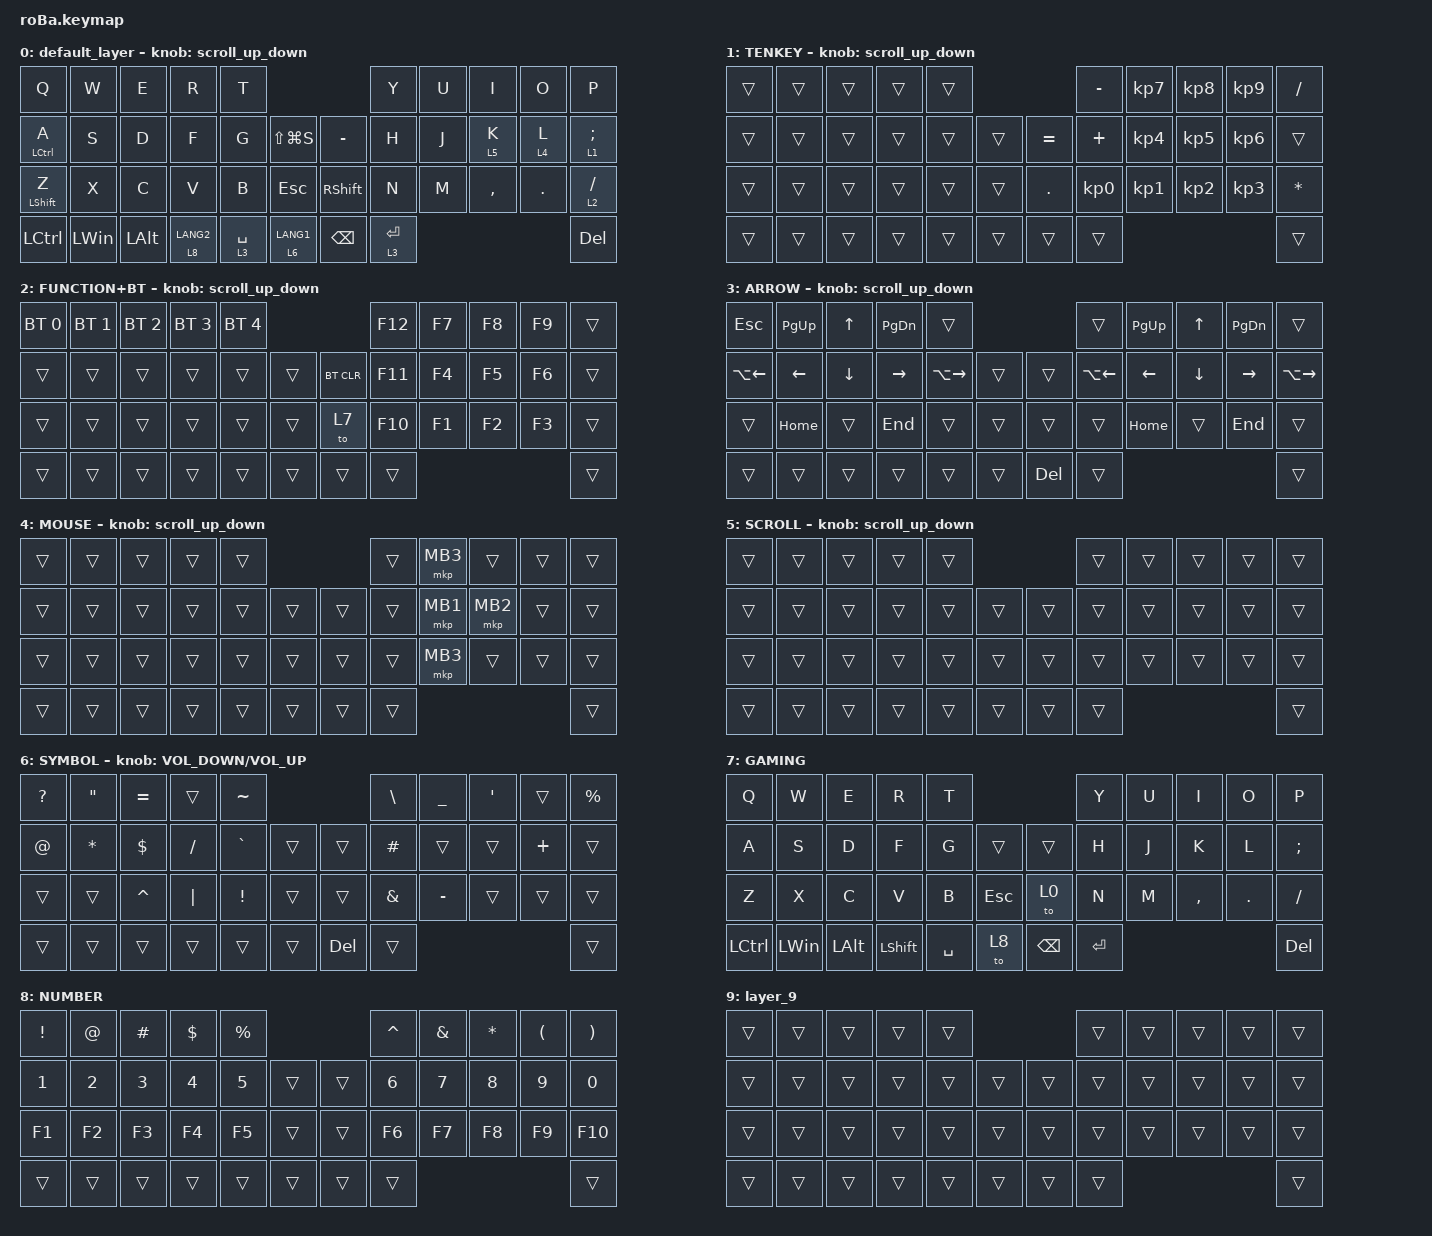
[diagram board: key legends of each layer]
#include <behaviors.dtsi>
#include <dt-bindings/zmk/bt.h>
#include <dt-bindings/zmk/keys.h>
#include <dt-bindings/zmk/pointing.h>

#define MOUSE 4
#define SCROLL 5
#define NUM 6
#define ZMK_POINTING_DEFAULT_SCRL_VAL 100

&mt {
    flavor = "balanced";
    quick-tap-ms = <0>;
};

/ {
    combos {
        compatible = "zmk,combos";

        tab {
            bindings = <&kp TAB>;
            key-positions = <0 1>;
        };

        shift_tab {
            bindings = <&kp LS(TAB)>;
            key-positions = <2 1>;
        };

        muhennkann {
            bindings = <&to_layer_0 INT_MUHENKAN>;
            key-positions = <>;
        };

        henkan {
            bindings = <&to_layer_0 INTERNATIONAL_4>;
            key-positions = <>;
        };

        left-parenthesis {
            bindings = <&kp LEFT_PARENTHESIS>;
            key-positions = <3 2>;
        };

        right-parenthesis {
            bindings = <&kp RIGHT_PARENTHESIS>;
            key-positions = <4 3>;
        };

        left-bracket {
            bindings = <&kp LEFT_BRACKET>;
            key-positions = <12 13>;
        };

        right-bracket {
            bindings = <&kp RIGHT_BRACKET>;
            key-positions = <14 13>;
        };

        left-brace {
            bindings = <&kp LEFT_BRACE>;
            key-positions = <24 25>;
        };

        right-brace {
            bindings = <&kp RIGHT_BRACE>;
            key-positions = <25 26>;
        };

        quotation {
            bindings = <&kp SQT>;
            key-positions = <>;
        };

        double-quotation {
            bindings = <&kp DOUBLE_QUOTES>;
            key-positions = <>;
        };

        semicolon {
            bindings = <&kp SEMICOLON>;
            key-positions = <>;
        };

        colon {
            bindings = <&kp COLON>;
            key-positions = <>;
        };

        mb1 {
            bindings = <&mkp MB1>;
            key-positions = <18 19>;
        };

        mb2 {
            bindings = <&mkp MB2>;
            key-positions = <20 21>;
        };

        mb3 {
            bindings = <&mkp MB3>;
            key-positions = <19 20>;
        };
    };

    macros {
        to_layer_0: to_layer_0 {
            compatible = "zmk,behavior-macro-one-param";
            #binding-cells = <1>;
            bindings = <&to 0 &macro_param_1to1 &kp MACRO_PLACEHOLDER>;
            label = "TO_LAYER_0";
        };
    };

    behaviors {
        lt_to_layer_0: lt_to_layer_0 {
            compatible = "zmk,behavior-hold-tap";
            label = "LAYER_TAP_TO_0";
            bindings = <&mo>, <&to_layer_0>;

            #binding-cells = <2>;
            tapping-term-ms = <200>;
        };

        scroll_up_down: behavior_sensor_rotate_mouse_wheel_up_down {
            compatible = "zmk,behavior-sensor-rotate";
            #sensor-binding-cells = <0>;
            bindings = <&msc SCRL_UP>, <&msc SCRL_DOWN>;

            // 追加: スクロールのタップ時間を設定 (20ms)

            tap-ms = <20>;
        };
    };

    keymap {
        compatible = "zmk,keymap";

        default_layer {
            bindings = <
&kp Q               &kp W         &kp E         &kp R        &kp T                                            &kp Y        &kp U  &kp I      &kp O    &kp P
&mt LEFT_CONTROL A  &kp S         &kp D         &kp F        &kp G        &kp LS(LG(S))      &kp MINUS        &kp H        &kp J  &lt 5 K    &lt 4 L  &lt 1 SEMICOLON
&mt LEFT_SHIFT Z    &kp X         &kp C         &kp V        &kp B        &kp ESCAPE         &kp RIGHT_SHIFT  &kp N        &kp M  &kp COMMA  &kp DOT  &lt 2 SLASH
&kp LCTRL           &kp LEFT_WIN  &kp LEFT_ALT  &lt 8 LANG2  &lt 3 SPACE  &lt 6 LANG1        &kp BACKSPACE    &lt 3 ENTER                             &kp DEL
            >;

            sensor-bindings = <&scroll_up_down>;
        };

        TENKEY {
            bindings = <
&trans  &trans  &trans  &trans  &trans                          &kp MINUS        &kp KP_NUMBER_7  &kp KP_NUMBER_8  &kp KP_NUMBER_9  &kp SLASH
&trans  &trans  &trans  &trans  &trans  &trans      &kp EQUAL   &kp PLUS         &kp KP_NUMBER_4  &kp KP_NUMBER_5  &kp KP_NUMBER_6  &trans
&trans  &trans  &trans  &trans  &trans  &trans      &kp PERIOD  &kp KP_NUMBER_0  &kp KP_NUMBER_1  &kp KP_NUMBER_2  &kp KP_NUMBER_3  &kp ASTERISK
&trans  &trans  &trans  &trans  &trans  &trans      &trans      &trans                                                              &trans
            >;

            sensor-bindings = <&scroll_up_down>;
        };

        FUNCTION+BT {
            bindings = <
&bt BT_SEL 0  &bt BT_SEL 1  &bt BT_SEL 2  &bt BT_SEL 3  &bt BT_SEL 4                          &kp F12  &kp F7  &kp F8  &kp F9  &trans
&trans        &trans        &trans        &trans        &trans        &trans      &bt BT_CLR  &kp F11  &kp F4  &kp F5  &kp F6  &trans
&trans        &trans        &trans        &trans        &trans        &trans      &to 7       &kp F10  &kp F1  &kp F2  &kp F3  &trans
&trans        &trans        &trans        &trans        &trans        &trans      &trans      &trans                           &trans
            >;

            sensor-bindings = <&scroll_up_down>;
        };

        ARROW {
            bindings = <
&kp ESCAPE    &kp PAGE_UP     &kp UP_ARROW    &kp PAGE_DOWN    &trans                                 &trans        &kp PAGE_UP     &kp UP_ARROW  &kp PAGE_DOWN    &trans
&kp LA(LEFT)  &kp LEFT_ARROW  &kp DOWN_ARROW  &kp RIGHT_ARROW  &kp LA(RIGHT)  &trans      &trans      &kp LA(LEFT)  &kp LEFT_ARROW  &kp DOWN      &kp RIGHT_ARROW  &kp LA(RIGHT)
&trans        &kp HOME        &trans          &kp END          &trans         &trans      &trans      &trans        &kp HOME        &trans        &kp END          &trans
&trans        &trans          &trans          &trans           &trans         &trans      &kp DELETE  &trans                                                       &trans
            >;

            sensor-bindings = <&scroll_up_down>;
        };

        MOUSE {
            bindings = <
&trans  &trans  &trans  &trans  &trans                      &trans  &mkp MB3  &trans    &trans  &trans
&trans  &trans  &trans  &trans  &trans  &trans      &trans  &trans  &mkp MB1  &mkp MB2  &trans  &trans
&trans  &trans  &trans  &trans  &trans  &trans      &trans  &trans  &mkp MB3  &trans    &trans  &trans
&trans  &trans  &trans  &trans  &trans  &trans      &trans  &trans                              &trans
            >;

            sensor-bindings = <&scroll_up_down>;
        };

        SCROLL {
            bindings = <
&trans  &trans  &trans  &trans  &trans                      &trans  &trans  &trans  &trans  &trans
&trans  &trans  &trans  &trans  &trans  &trans      &trans  &trans  &trans  &trans  &trans  &trans
&trans  &trans  &trans  &trans  &trans  &trans      &trans  &trans  &trans  &trans  &trans  &trans
&trans  &trans  &trans  &trans  &trans  &trans      &trans  &trans                          &trans
            >;

            sensor-bindings = <&scroll_up_down>;
        };

        SYMBOL {
            bindings = <
&kp QUESTION  &kp DOUBLE_QUOTES  &kp EQUAL   &trans     &kp TILDE                                &kp BACKSLASH  &kp UNDERSCORE  &kp SINGLE_QUOTE  &trans    &kp PERCENT
&kp AT_SIGN   &kp ASTERISK       &kp DOLLAR  &kp SLASH  &kp GRAVE        &trans      &trans      &kp HASH       &trans          &trans            &kp PLUS  &trans
&trans        &trans             &kp CARET   &kp PIPE   &kp EXCLAMATION  &trans      &trans      &kp AMPERSAND  &kp MINUS       &trans            &trans    &trans
&trans        &trans             &trans      &trans     &trans           &trans      &kp DELETE  &trans                                                     &trans
            >;

            sensor-bindings = <&inc_dec_kp C_VOLUME_DOWN C_VOLUME_UP>;
        };

        GAMING {
            bindings = <
&kp Q      &kp W         &kp E         &kp R           &kp T                                  &kp Y      &kp U  &kp I      &kp O       &kp P
&kp A      &kp S         &kp D         &kp F           &kp G      &trans       &trans         &kp H      &kp J  &kp K      &kp L       &kp SEMICOLON
&kp Z      &kp X         &kp C         &kp V           &kp B      &kp ESC      &to 0          &kp N      &kp M  &kp COMMA  &kp PERIOD  &kp SLASH
&kp LCTRL  &kp LEFT_WIN  &kp LEFT_ALT  &kp LEFT_SHIFT  &kp SPACE  &to 8        &kp BACKSPACE  &kp ENTER                                &kp DELETE
            >;
        };

        NUMBER {
            bindings = <
&kp EXCLAMATION  &kp AT_SIGN   &kp HASH      &kp DOLLAR    &kp PERCENT                      &kp CARET     &kp AMPERSAND  &kp ASTERISK  &kp LEFT_PARENTHESIS  &kp RIGHT_PARENTHESIS
&kp NUMBER_1     &kp NUMBER_2  &kp NUMBER_3  &kp NUMBER_4  &kp N5       &trans      &trans  &kp NUMBER_6  &kp N7         &kp N8        &kp N9                &kp N0
&kp F1           &kp F2        &kp F3        &kp F4        &kp F5       &trans      &trans  &kp F6        &kp F7         &kp F8        &kp F9                &kp F10
&trans           &trans        &trans        &trans        &trans       &trans      &trans  &trans                                                           &trans
            >;
        };

        layer_9 {
            bindings = <
&trans  &trans  &trans  &trans  &trans                      &trans  &trans  &trans  &trans  &trans
&trans  &trans  &trans  &trans  &trans  &trans      &trans  &trans  &trans  &trans  &trans  &trans
&trans  &trans  &trans  &trans  &trans  &trans      &trans  &trans  &trans  &trans  &trans  &trans
&trans  &trans  &trans  &trans  &trans  &trans      &trans  &trans                          &trans
            >;
        };
    };
};
